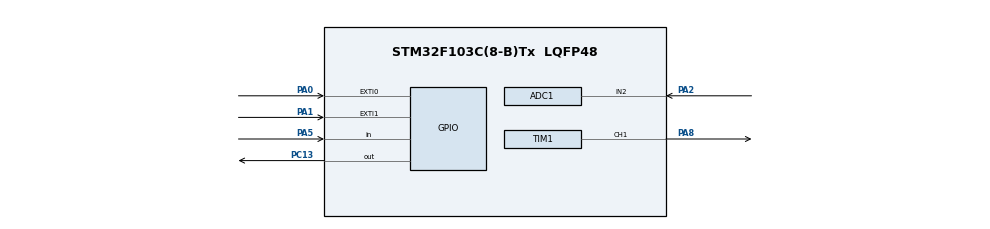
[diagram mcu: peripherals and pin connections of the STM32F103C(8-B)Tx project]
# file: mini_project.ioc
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ADC1.Channel-0\#ChannelRegularConversion=ADC_CHANNEL_2
ADC1.NbrOfConversionFlag=1
ADC1.Rank-0\#ChannelRegularConversion=1
ADC1.SamplingTime-0\#ChannelRegularConversion=ADC_SAMPLETIME_1CYCLE_5
ADC1.master=1
Mcu.Family=STM32F1
Mcu.Name=STM32F103C(8-B)Tx
Mcu.Package=LQFP48
NVIC.EXTI0_IRQn=true\:0\:0\:false\:false\:true\:true\:true\:true
NVIC.EXTI1_IRQn=true\:0\:0\:false\:false\:true\:true\:true\:true
NVIC.PriorityGroup=NVIC_PRIORITYGROUP_4
PA0-WKUP.GPIO_ModeDefaultEXTI=GPIO_MODE_IT_FALLING
PA0-WKUP.GPIO_PuPd=GPIO_PULLUP
PA0-WKUP.Signal=GPXTI0
PA1.GPIO_ModeDefaultEXTI=GPIO_MODE_IT_FALLING
PA1.GPIO_PuPd=GPIO_PULLUP
PA1.Signal=GPXTI1
PA13.Mode=Serial_Wire
PA13.Signal=SYS_JTMS-SWDIO
PA14.Mode=Serial_Wire
PA14.Signal=SYS_JTCK-SWCLK
PA2.Signal=ADCx_IN2
PA5.GPIO_PuPd=GPIO_PULLUP
PA5.Signal=GPIO_Input
PA8.Signal=S_TIM1_CH1
PC13-TAMPER-RTC.Signal=GPIO_Output
PD0-OSC_IN.Mode=HSE-External-Oscillator
PD0-OSC_IN.Signal=RCC_OSC_IN
PD1-OSC_OUT.Mode=HSE-External-Oscillator
PD1-OSC_OUT.Signal=RCC_OSC_OUT
ProjectManager.HeapSize=0x200
ProjectManager.StackSize=0x400
ProjectManager.TargetToolchain=MDK-ARM V5.32
RCC.APB1Freq_Value=8000000
RCC.APB2Freq_Value=8000000
SH.ADCx_IN2.0=ADC1_IN2,IN2
SH.S_TIM1_CH1.0=TIM1_CH1,PWM Generation1 CH1
TIM1.Channel-PWM\ Generation1\ CH1=TIM_CHANNEL_1
TIM1.Period=1023
TIM1.Prescaler=64-1
VP_TIM1_VS_ClockSourceINT.Mode=Internal
board=custom

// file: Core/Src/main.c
/* USER CODE BEGIN Header */
/**
  ******************************************************************************
  * @file           : main.c
  * @brief          : Main program body
  ******************************************************************************
  * @attention
  *
  * Copyright (c) 2024 STMicroelectronics.
  * All rights reserved.
  *
  * This software is licensed under terms that can be found in the LICENSE file
  * in the root directory of this software component.
  * If no LICENSE file comes with this software, it is provided AS-IS.
  *
  ******************************************************************************
  */
/* USER CODE END Header */
#include "main.h"

ADC_HandleTypeDef hadc1;

TIM_HandleTypeDef htim1;

void SystemClock_Config(void);
static void MX_GPIO_Init(void);
static void MX_ADC1_Init(void);
static void MX_TIM1_Init(void);
uint16_t Flag = 0;
uint32_t adcValue;
uint16_t pwmValue;
int state = 0;

/* USER CODE BEGIN 0 */
uint32_t mapValue(uint32_t input)
{
	return (input * 1023)/ 4026;
}

void HAL_GPIO_EXTI_Callback(uint16_t GPIO_Pin)
{
	if (GPIO_Pin == GPIO_PIN_0)
	{
		Flag++;
	}
}
void Switch_Led()
{
	HAL_GPIO_TogglePin(GPIOC, GPIO_PIN_13);
}
void PWM_Led()
{
		pwmValue = mapValue(adcValue);
	__HAL_TIM_SET_COMPARE(&htim1, TIM_CHANNEL_1, pwmValue);
}
/* USER CODE END 0 */

int main(void)
{

  /* MCU Configuration--------------------------------------------------------*/

  /* Reset of all peripherals, Initializes the Flash interface and the Systick. */
  HAL_Init();

  /* Configure the system clock */
  SystemClock_Config();

  /* Initialize all configured peripherals */
  MX_GPIO_Init();
  MX_ADC1_Init();
  MX_TIM1_Init();
  /* USER CODE BEGIN 2 */
HAL_TIM_PWM_Start(&htim1, TIM_CHANNEL_1);
  /* USER CODE END 2 */

  /* Infinite loop */
  while (1)
  {

    /* USER CODE BEGIN 3 */
	HAL_ADC_Start(&hadc1);
	adcValue = HAL_ADC_GetValue(&hadc1);
	HAL_ADC_Stop(&hadc1);

	if (Flag % 2 == 0)
	{
		if( HAL_GPIO_ReadPin(GPIOA, GPIO_PIN_5) == 0 && state == 0)

				{
					__HAL_TIM_SET_COMPARE(&htim1, TIM_CHANNEL_1, 0);
					state = 1;
				}
				else if((HAL_GPIO_ReadPin(GPIOA, GPIO_PIN_5) == 0) && (state == 1))
							{
							__HAL_TIM_SET_COMPARE(&htim1, TIM_CHANNEL_1, 1023);
								state = 0;
							}

  }else
		PWM_Led();
  /* USER CODE END 3 */
}
}
void SystemClock_Config(void)
{
  RCC_OscInitTypeDef RCC_OscInitStruct = {0};
  RCC_ClkInitTypeDef RCC_ClkInitStruct = {0};
  RCC_PeriphCLKInitTypeDef PeriphClkInit = {0};

  /** Initializes the RCC Oscillators according to the specified parameters
  * in the RCC_OscInitTypeDef structure.
  */
  RCC_OscInitStruct.OscillatorType = RCC_OSCILLATORTYPE_HSI;
  RCC_OscInitStruct.HSIState = RCC_HSI_ON;
  RCC_OscInitStruct.HSICalibrationValue = RCC_HSICALIBRATION_DEFAULT;
  RCC_OscInitStruct.PLL.PLLState = RCC_PLL_NONE;
  if (HAL_RCC_OscConfig(&RCC_OscInitStruct) != HAL_OK)
  {
    Error_Handler();
  }

  /** Initializes the CPU, AHB and APB buses clocks
  */
  RCC_ClkInitStruct.ClockType = RCC_CLOCKTYPE_HCLK|RCC_CLOCKTYPE_SYSCLK
                              |RCC_CLOCKTYPE_PCLK1|RCC_CLOCKTYPE_PCLK2;
  RCC_ClkInitStruct.SYSCLKSource = RCC_SYSCLKSOURCE_HSI;
  RCC_ClkInitStruct.AHBCLKDivider = RCC_SYSCLK_DIV1;
  RCC_ClkInitStruct.APB1CLKDivider = RCC_HCLK_DIV1;
  RCC_ClkInitStruct.APB2CLKDivider = RCC_HCLK_DIV1;

  if (HAL_RCC_ClockConfig(&RCC_ClkInitStruct, FLASH_LATENCY_0) != HAL_OK)
  {
    Error_Handler();
  }
  PeriphClkInit.PeriphClockSelection = RCC_PERIPHCLK_ADC;
  PeriphClkInit.AdcClockSelection = RCC_ADCPCLK2_DIV2;
  if (HAL_RCCEx_PeriphCLKConfig(&PeriphClkInit) != HAL_OK)
  {
    Error_Handler();
  }
}

static void MX_ADC1_Init(void)
{

  ADC_ChannelConfTypeDef sConfig = {0};

  /** Common config
  */
  hadc1.Instance = ADC1;
  hadc1.Init.ScanConvMode = ADC_SCAN_DISABLE;
  hadc1.Init.ContinuousConvMode = DISABLE;
  hadc1.Init.DiscontinuousConvMode = DISABLE;
  hadc1.Init.ExternalTrigConv = ADC_SOFTWARE_START;
  hadc1.Init.DataAlign = ADC_DATAALIGN_RIGHT;
  hadc1.Init.NbrOfConversion = 1;
  if (HAL_ADC_Init(&hadc1) != HAL_OK)
  {
    Error_Handler();
  }

  /** Configure Regular Channel
  */
  sConfig.Channel = ADC_CHANNEL_2;
  sConfig.Rank = ADC_REGULAR_RANK_1;
  sConfig.SamplingTime = ADC_SAMPLETIME_1CYCLE_5;
  if (HAL_ADC_ConfigChannel(&hadc1, &sConfig) != HAL_OK)
  {
    Error_Handler();
  }

}

static void MX_TIM1_Init(void)
{

  TIM_ClockConfigTypeDef sClockSourceConfig = {0};
  TIM_MasterConfigTypeDef sMasterConfig = {0};
  TIM_OC_InitTypeDef sConfigOC = {0};
  TIM_BreakDeadTimeConfigTypeDef sBreakDeadTimeConfig = {0};

  htim1.Instance = TIM1;
  htim1.Init.Prescaler = 64-1;
  htim1.Init.CounterMode = TIM_COUNTERMODE_UP;
  htim1.Init.Period = 1023;
  htim1.Init.ClockDivision = TIM_CLOCKDIVISION_DIV1;
  htim1.Init.RepetitionCounter = 0;
  htim1.Init.AutoReloadPreload = TIM_AUTORELOAD_PRELOAD_DISABLE;
  if (HAL_TIM_Base_Init(&htim1) != HAL_OK)
  {
    Error_Handler();
  }
  sClockSourceConfig.ClockSource = TIM_CLOCKSOURCE_INTERNAL;
  if (HAL_TIM_ConfigClockSource(&htim1, &sClockSourceConfig) != HAL_OK)
  {
    Error_Handler();
  }
  if (HAL_TIM_PWM_Init(&htim1) != HAL_OK)
  {
    Error_Handler();
  }
  sMasterConfig.MasterOutputTrigger = TIM_TRGO_RESET;
  sMasterConfig.MasterSlaveMode = TIM_MASTERSLAVEMODE_DISABLE;
  if (HAL_TIMEx_MasterConfigSynchronization(&htim1, &sMasterConfig) != HAL_OK)
  {
    Error_Handler();
  }
  sConfigOC.OCMode = TIM_OCMODE_PWM1;
  sConfigOC.Pulse = 0;
  sConfigOC.OCPolarity = TIM_OCPOLARITY_HIGH;
  sConfigOC.OCNPolarity = TIM_OCNPOLARITY_HIGH;
  sConfigOC.OCFastMode = TIM_OCFAST_DISABLE;
  sConfigOC.OCIdleState = TIM_OCIDLESTATE_RESET;
  sConfigOC.OCNIdleState = TIM_OCNIDLESTATE_RESET;
  if (HAL_TIM_PWM_ConfigChannel(&htim1, &sConfigOC, TIM_CHANNEL_1) != HAL_OK)
  {
    Error_Handler();
  }
  sBreakDeadTimeConfig.OffStateRunMode = TIM_OSSR_DISABLE;
  sBreakDeadTimeConfig.OffStateIDLEMode = TIM_OSSI_DISABLE;
  sBreakDeadTimeConfig.LockLevel = TIM_LOCKLEVEL_OFF;
  sBreakDeadTimeConfig.DeadTime = 0;
  sBreakDeadTimeConfig.BreakState = TIM_BREAK_DISABLE;
  sBreakDeadTimeConfig.BreakPolarity = TIM_BREAKPOLARITY_HIGH;
  sBreakDeadTimeConfig.AutomaticOutput = TIM_AUTOMATICOUTPUT_DISABLE;
  if (HAL_TIMEx_ConfigBreakDeadTime(&htim1, &sBreakDeadTimeConfig) != HAL_OK)
  {
    Error_Handler();
  }
  HAL_TIM_MspPostInit(&htim1);

}

static void MX_GPIO_Init(void)
{
  GPIO_InitTypeDef GPIO_InitStruct = {0};

  /* GPIO Ports Clock Enable */
  __HAL_RCC_GPIOC_CLK_ENABLE();
  __HAL_RCC_GPIOD_CLK_ENABLE();
  __HAL_RCC_GPIOA_CLK_ENABLE();

  /*Configure GPIO pin Output Level */
  HAL_GPIO_WritePin(GPIOC, GPIO_PIN_13, GPIO_PIN_RESET);

  /*Configure GPIO pin : PC13 */
  GPIO_InitStruct.Pin = GPIO_PIN_13;
  GPIO_InitStruct.Mode = GPIO_MODE_OUTPUT_PP;
  GPIO_InitStruct.Pull = GPIO_NOPULL;
  GPIO_InitStruct.Speed = GPIO_SPEED_FREQ_LOW;
  HAL_GPIO_Init(GPIOC, &GPIO_InitStruct);

  /*Configure GPIO pins : PA0 PA1 */
  GPIO_InitStruct.Pin = GPIO_PIN_0|GPIO_PIN_1;
  GPIO_InitStruct.Mode = GPIO_MODE_IT_FALLING;
  GPIO_InitStruct.Pull = GPIO_PULLUP;
  HAL_GPIO_Init(GPIOA, &GPIO_InitStruct);

  /*Configure GPIO pin : PA5 */
  GPIO_InitStruct.Pin = GPIO_PIN_5;
  GPIO_InitStruct.Mode = GPIO_MODE_INPUT;
  GPIO_InitStruct.Pull = GPIO_PULLUP;
  HAL_GPIO_Init(GPIOA, &GPIO_InitStruct);

  /* EXTI interrupt init*/
  HAL_NVIC_SetPriority(EXTI0_IRQn, 0, 0);
  HAL_NVIC_EnableIRQ(EXTI0_IRQn);

  HAL_NVIC_SetPriority(EXTI1_IRQn, 0, 0);
  HAL_NVIC_EnableIRQ(EXTI1_IRQn);

}

void Error_Handler(void)
{
  __disable_irq();
  while (1)
  {
  }
}
